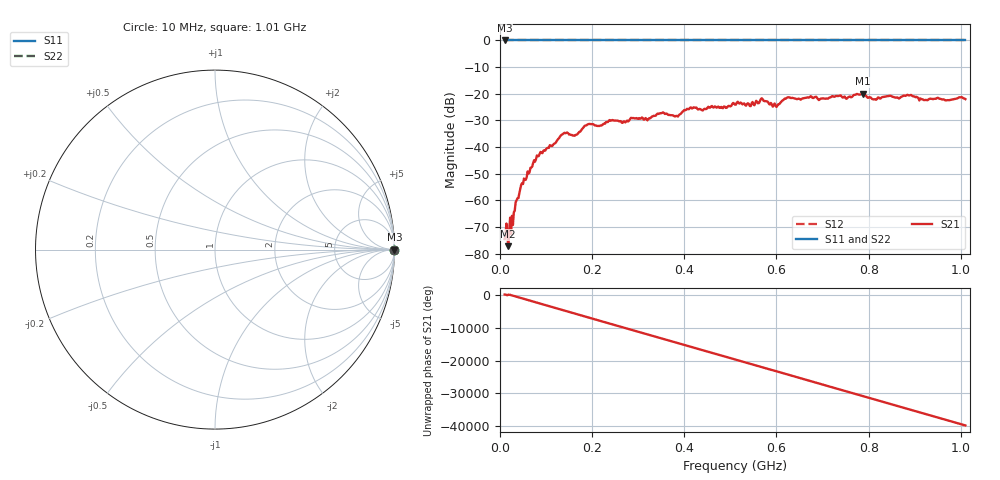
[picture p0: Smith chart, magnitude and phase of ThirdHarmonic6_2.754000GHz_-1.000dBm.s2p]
! 8/17/2025 6:54:40 AM
! C:\ANRITSUVNA\TEMP\TEMP.S2P
! CHANNEL.1
! TR.MEASUREMENT
! RAW.DATA
! RF.CORRECTION.OFF
! AVERAGING.OFF
! IF.BANDWIDTH: 5KHZ
! SWEEPTYPE:  FREQ.SWEEP(Linear)
! Reference Plane Port Info
! PORT:  PORT1  PORT2
! DISTANCE:  0  m  0  m
! TIME:  0  s  0  s
! PHASE.OFFSET:  0  deg.  0  deg.
! LOSS:  0  dB  0  dB
! REF.LOSS:  0  dB  0  dB
! REF.FREQ:  0  Hz  0  Hz
! Power Info
! POWER:  -20  dBm  -20  dBm
! EFF.POWER:  -20  dBm  -20  dBm
! SOURCE.ATTEN:  0  dB  0  dB
! TEST.ATTEN:  0  dB  0  dB
# GHZ S RI R 50.0
! FREQ.GHZ  S11RE  S11IM  S21RE  S21IM  S12RE  S12IM  S22RE  S22IM
!; PortSelection: Port_12
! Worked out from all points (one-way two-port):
!   501 points, 10 MHz to 1.01 GHz, reference 50 ohm
!   highest |S21| = -19.97 dB at 788 MHz (marker M1); lowest = -77.1 dB at 18 MHz (marker M2)
!   lowest |S11| = 0.0 dB at 10 MHz (marker M3)
!   |S11| at or under -10 dB: nowhere
!   |S22| runs from 0.0 to 0.0 dB; largest |S21 - S12| = 1.1
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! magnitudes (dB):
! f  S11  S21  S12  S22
! 10 MHz  0.0  -74.5  0.0  0.0
! 18 MHz  0.0  -77.1  0.0  0.0
! 20 MHz  0.0  -71.2  0.0  0.0
! 34 MHz  0.0  -60.7  0.0  0.0
! 48 MHz  0.0  -53.5  0.0  0.0
! 84 MHz  0.0  -43.4  0.0  0.0
! 136 MHz  0.0  -35.2  0.0  0.0
! 162 MHz  0.0  -35.7  0.0  0.0
! 178 MHz  0.0  -33.2  0.0  0.0
! 194 MHz  0.0  -31.3  0.0  0.0
! 344 MHz  0.0  -27.6  0.0  0.0
! 382 MHz  0.0  -28.3  0.0  0.0
! 416 MHz  0.0  -25.5  0.0  0.0
! 510 MHz  0.0  -24.1  0.0  0.0
! 570 MHz  0.0  -22.0  0.0  0.0
! 596 MHz  0.0  -23.6  0.0  0.0
! 624 MHz  0.0  -21.4  0.0  0.0
! 678 MHz  0.0  -21.5  0.0  0.0
! 788 MHz  0.0  -20.0  0.0  0.0
! 812 MHz  0.0  -22.0  0.0  0.0
! 844 MHz  0.0  -20.8  0.0  0.0
! 1.01 GHz  0.0  -22.0  0.0  0.0
